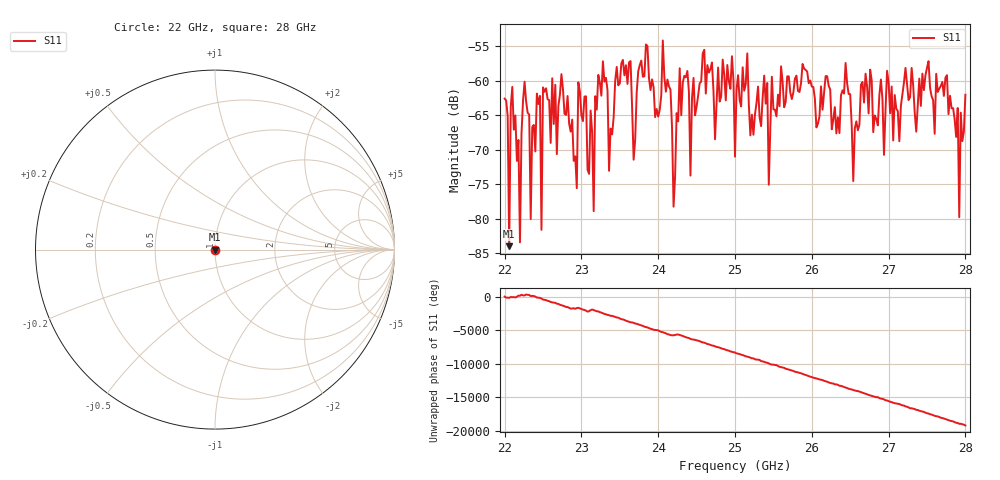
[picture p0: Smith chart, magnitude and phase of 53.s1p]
#  HZ  S  RI  R  50.00
! Rohde & Schwarz ZVA40 4Ports - Version 3.90 - 1145.1110k42 SN: 100403
! Date: 2023-10-04 06:38:25
! Measurement: S12
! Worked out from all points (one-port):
!   301 points, 22 GHz to 28 GHz, reference 50 ohm
!   lowest |S11| = -84.0 dB at 22.06 GHz (marker M1), VSWR 1.00, Z = 50 - j0.0026 ohm
!   |S11| at or under -10 dB: start of sweep to end of sweep
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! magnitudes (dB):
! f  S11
! 22 GHz  -62.6
! 22.06 GHz  -84.0
! 22.1 GHz  -60.9
! 22.2 GHz  -83.4
! 22.26 GHz  -60.1
! 22.34 GHz  -80.0
! 22.42 GHz  -61.9
! 22.48 GHz  -81.6
! 22.5 GHz  -61.0
! 22.76 GHz  -61.2
! 23.16 GHz  -78.9
! 23.22 GHz  -59.1
! 23.36 GHz  -73.0
! 23.5 GHz  -60.4
! 24.26 GHz  -65.9
! 24.96 GHz  -56.4
! 25 GHz  -71.0
! 25.16 GHz  -56.0
! 25.42 GHz  -60.3
! 25.44 GHz  -75.1
! 25.48 GHz  -59.4
! 25.76 GHz  -61.7
! 26.5 GHz  -61.9
! 27.26 GHz  -62.8
! 27.76 GHz  -59.2
! 27.9 GHz  -63.9
! 27.92 GHz  -79.8
! 28 GHz  -62.0
